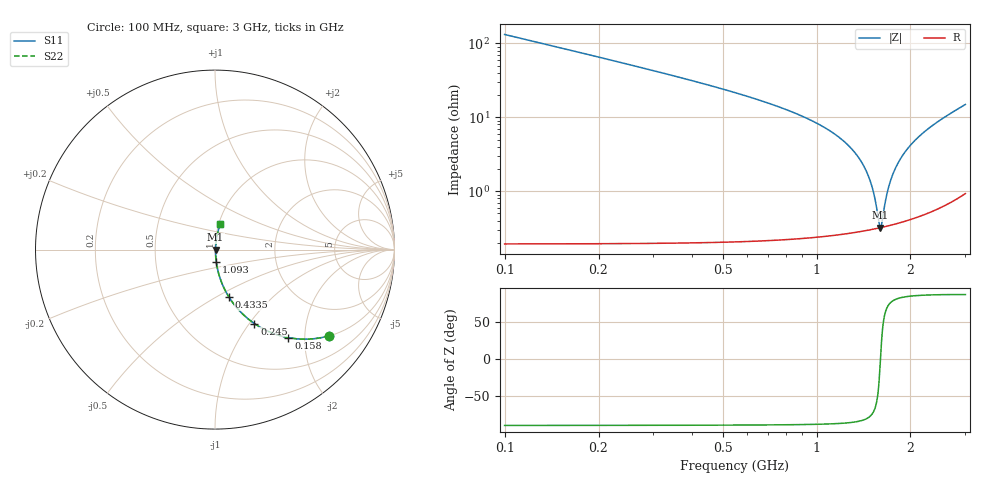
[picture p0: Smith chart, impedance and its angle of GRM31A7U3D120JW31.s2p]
!Murata Part Number: GRM31A7U3D120JW31
!These Parameters are Measured in Series Mode Connection
!Data Generated on Mar 30, 2021
!  o--ll--o
!Port1  Port2
!  o------o
!Operation Temp=25[degC], DC Bias Voltage=0[V]
!Freq. Start=100[MHz] Stop=3[GHz] 401[Steps]
# Hz S RI R 50
!Freq.(Hz) S11(Real) S11(Imag) S21(Real) S21(Imag) S12(Real) S12(Imag) S22(Real) S22(Imag)
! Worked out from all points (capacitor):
!   401 points, 100 MHz to 3 GHz, reference 50 ohm
!   read as one part in series: C = 12 pF near 114.5 MHz
!   lowest |Z| = 321 mohm at 1.601 GHz (marker M1)
!   series resonance near 1.603 GHz, so ESL is about 820 pH
!   S11 on the Smith chart (normalised r, x): 100 MHz: 1.00, -2.64; 158 MHz: 1.00, -1.66; 245 MHz: 1.00, -1.06; 433.5 MHz: 1.00, -0.57; 1.093 GHz: 1.00, -0.13; 3 GHz: 1.02, +0.30
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1e8  0.6357 -0.4805  0.3643 0.4805  0.3643 0.4805  0.6357 -0.4805
1.58e8  0.4092 -0.4905  0.5908 0.4905  0.5908 0.4905  0.4092 -0.4905
2.45e8  0.2199 -0.4123  0.7801 0.4123  0.7801 0.4123  0.2199 -0.4123
3.2475e8  0.1349 -0.3391  0.8651 0.3391  0.8651 0.3391  0.1349 -0.3391
4.335e8  0.0767 -0.2627  0.9233 0.2627  0.9233 0.2627  0.0767 -0.2627
5.8575e8  0.0396 -0.1899  0.9604 0.1899  0.9604 0.1899  0.0396 -0.1899
1.0715e9  0.00739 -0.0701  0.9926 0.0701  0.9926 0.0701  0.00739 -0.0701
1.09325e9  0.00692 -0.0665  0.9931 0.0665  0.9931 0.0665  0.00692 -0.0665
1.26725e9  0.00434 -0.0408  0.9957 0.0408  0.9957 0.0408  0.00434 -0.0408
1.39775e9  0.00342 -0.0239  0.9966 0.0239  0.9966 0.0239  0.00342 -0.0239
1.48475e9  0.00317 -0.0135  0.9968 0.0135  0.9968 0.0135  0.00317 -0.0135
1.55e9  0.00313 -0.00594  0.9969 0.00594  0.9969 0.00594  0.00313 -0.00594
1.58625e9  0.00316 -0.00187  0.9968 0.00187  0.9968 0.00187  0.00316 -0.00187
1.60075e9  0.00319 -0.000257  0.9968 0.000257  0.9968 0.000257  0.00319 -0.000257
1.6225e9  0.00323 0.00214  0.9968 -0.00214  0.9968 -0.00214  0.00323 0.00214
1.68775e9  0.00344 0.00921  0.9966 -0.00921  0.9966 -0.00921  0.00344 0.00921
1.76025e9  0.00379 0.0169  0.9962 -0.0169  0.9962 -0.0169  0.00379 0.0169
1.87625e9  0.00461 0.0288  0.9954 -0.0288  0.9954 -0.0288  0.00461 0.0288
2.03575e9  0.00622 0.0448  0.9938 -0.0448  0.9938 -0.0448  0.00622 0.0448
2.246e9  0.00921 0.0654  0.9908 -0.0654  0.9908 -0.0654  0.00921 0.0654
2.5215e9  0.0148 0.0927  0.9852 -0.0927  0.9852 -0.0927  0.0148 0.0927
3e9  0.0303 0.143  0.9697 -0.143  0.9697 -0.143  0.0303 0.143
